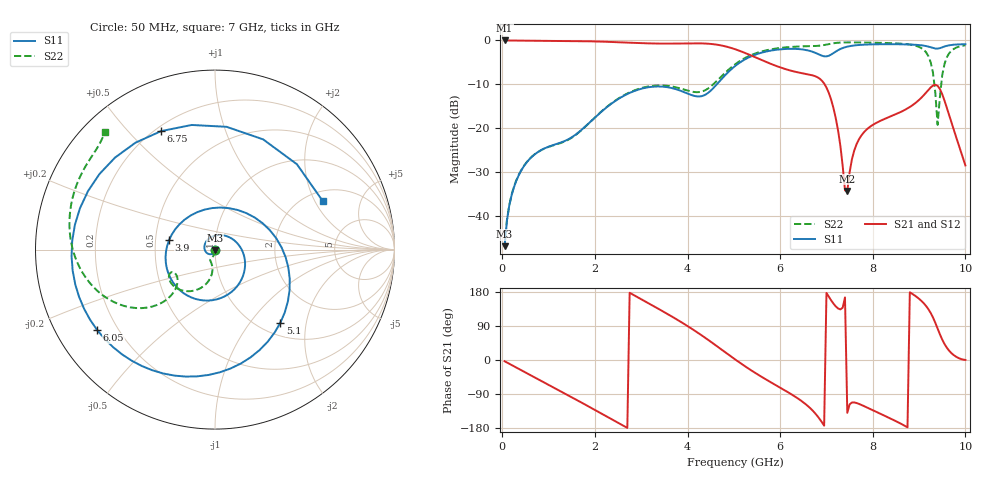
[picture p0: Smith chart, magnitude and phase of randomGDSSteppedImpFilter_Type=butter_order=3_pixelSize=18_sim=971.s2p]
! freq	dB(S11)	phase(S11)	dB(S12)	phase(S12)
!  dB(S21)	phase(S21)	dB(S22)	phase(S22)
!S-par simulation data
#  GHz  S  DB  R 50
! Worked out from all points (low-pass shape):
!   200 points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, 50 MHz to 10 GHz, reference 50 ohm
!   highest |S21| = -0.01 dB at 50 MHz (marker M1); lowest = -34.2 dB at 7.45 GHz (marker M2)
!   |S21| within 3 dB of the highest: start of sweep to 5.278 GHz
!   lowest |S11| = -46.8 dB at 50 MHz (marker M3), VSWR 1.01, Z = 50.1 - j0.453 ohm
!   |S11| at or under -10 dB: start of sweep to 4.632 GHz
!   |S22| runs from -46.7 to -0.4 dB; largest |S21 - S12| = 0
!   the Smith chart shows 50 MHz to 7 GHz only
!   S11 on the Smith chart (normalised r, x): 50 MHz: 1.00, -0.01; 3.9 GHz: 0.59, +0.07; 5.1 GHz: 1.23, -1.43; 6.05 GHz: 0.12, -0.30; 6.75 GHz: 0.22, +0.62; 7 GHz: 2.41, +2.32
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0.05  -46.80 -81.9  -0.01 -3.3  -0.01 -3.3  -46.67 -79.1
0.45  -28.87 -134.0  -0.05 -29.4  -0.05 -29.4  -28.81 -105.0
1.75  -19.99 47.7  -0.18 -115.0  -0.18 -115.0  -20.02 -98.4
2.6  -12.73 -53.8  -0.46 -172.5  -0.46 -172.5  -12.63 -111.6
3.4  -10.48 -131.6  -0.72 133.1  -0.72 133.1  -10.24 -141.5
3.9  -11.65 168.5  -0.69 97.3  -0.69 97.3  -11.09 -152.5
4.5  -11.44 49.3  -0.80 48.4  -0.80 48.4  -10.49 -136.1
5.05  -5.64 -41.9  -2.09 -0.4  -2.09 -0.4  -5.26 -143.4
5.1  -5.25 -48.2  -2.27 -4.7  -2.27 -4.7  -4.89 -145.5
5.55  -2.93 -98.0  -4.24 -40.8  -4.24 -40.8  -2.67 -167.5
6.05  -1.99 -145.8  -6.31 -76.5  -6.31 -76.5  -1.65 168.8
6.7  -2.59 126.6  -7.95 -133.3  -7.95 -133.3  -1.30 142.8
6.75  -2.79 114.5  -8.12 -139.9  -8.12 -139.9  -1.28 141.2
7  -3.64 24.4  -10.71 176.9  -10.71 176.9  -0.96 133.1
7.2  -2.54 -56.1  -17.65 141.6  -17.65 141.6  -0.58 124.5
7.45  -1.42 -115.4  -34.22 -139.5  -34.22 -139.5  -0.45 112.9
7.7  -1.04 -148.6  -22.52 -115.7  -22.52 -115.7  -0.47 101.9
8.35  -0.86 160.3  -17.44 -152.6  -17.44 -152.6  -0.61 73.1
9.2  -1.41 110.5  -11.28 134.3  -11.28 134.3  -3.56 10.9
9.4  -1.87 104.2  -10.32 83.0  -10.32 83.0  -19.19 34.5
9.55  -1.38 99.3  -13.72 41.9  -13.72 41.9  -5.32 82.1
10  -0.87 73.6  -28.43 0.2  -28.43 0.2  -1.11 36.1
